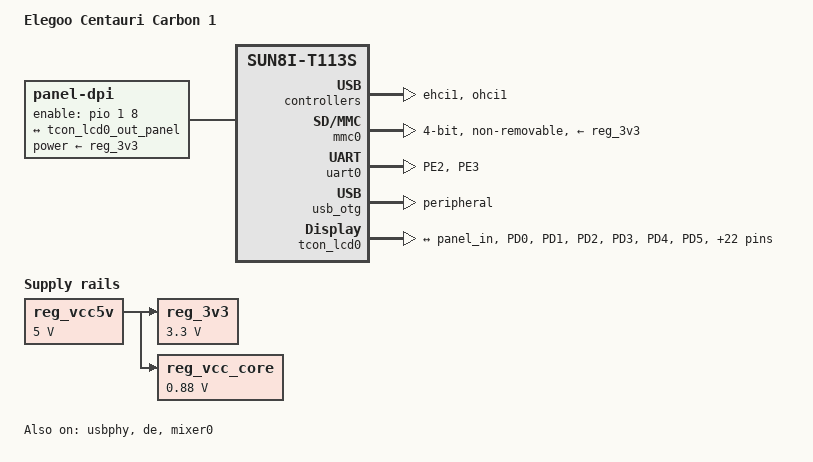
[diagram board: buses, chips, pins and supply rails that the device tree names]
// SPDX-License-Identifier: (GPL-2.0+ OR MIT)
// Copyright (C) 2026 James Turton.

/dts-v1/;

#include <dt-bindings/gpio/gpio.h>
#include "sun8i-t113s.dtsi"

/ {
	model = "Elegoo Centauri Carbon 1";
	compatible = "widora,mangopi-mq-r-t113", "allwinner,sun8i-t113s";

	aliases {
		serial0 = &uart0;
	};

	chosen {
		stdout-path = "serial0:115200n8";
	};

	/* board wide 5V supply directly from the USB-C socket */
	reg_vcc5v: regulator-5v {
		compatible = "regulator-fixed";
		regulator-name = "vcc-5v";
		regulator-min-microvolt = <5000000>;
		regulator-max-microvolt = <5000000>;
		regulator-always-on;
	};

	/* SY8008 DC/DC regulator on the board */
	reg_3v3: regulator-3v3 {
		compatible = "regulator-fixed";
		regulator-name = "vcc-3v3";
		regulator-min-microvolt = <3300000>;
		regulator-max-microvolt = <3300000>;
		vin-supply = <&reg_vcc5v>;
	};

	/* SY8008 DC/DC regulator on the board, also supplying VDD-SYS */
	reg_vcc_core: regulator-core {
		compatible = "regulator-fixed";
		regulator-name = "vcc-core";
		regulator-min-microvolt = <880000>;
		regulator-max-microvolt = <880000>;
		vin-supply = <&reg_vcc5v>;
	};

	// backlight: backlight {
	// 	compatible = "pwm-backlight";
	// 	pwms = <&pwm 7 20000 0>;
	// 	brightness-levels = <0 4 8 16 32 64 128 255>;
	// 	default-brightness-level = <7>;
	// 	enable-gpios = <&pio 1 8 GPIO_ACTIVE_HIGH>; /* PB8 */
	// };

	panel {
		compatible = "panel-dpi";
		// backlight = <&backlight>;
		enable-gpios = <&pio 1 8 GPIO_ACTIVE_HIGH>; /* PB8 */
		power-supply = <&reg_3v3>;

		port {
			panel_in: endpoint {
				remote-endpoint = <&tcon_lcd0_out_panel>;
			};
		};

		panel-timing {
			clock-frequency = <9000000>;
			hactive = <480>;
			vactive = <272>;
			hback-porch = <43>;
			hfront-porch = <4>;
			hsync-len = <4>;
			vback-porch = <12>;
			vfront-porch = <4>;
			vsync-len = <4>;
		};
	};
};

&cpu0 {
	cpu-supply = <&reg_vcc_core>;
};

&cpu1 {
	cpu-supply = <&reg_vcc_core>;
};

&dcxo {
	clock-frequency = <24000000>;
};

&ehci1 {
	status = "okay";
};

&mmc0 {
	pinctrl-0 = <&mmc0_pins>;
	pinctrl-names = "default";
	vmmc-supply = <&reg_3v3>;
	/delete-property/ cap-sd-highspeed;
	/delete-property/ no-mmc;
	mmc-ddr-3_3v;
	cap-mmc-highspeed;
	non-removable;
	bus-width = <4>;
	status = "okay";
};

&ohci1 {
	status = "okay";
};

&pio {
	vcc-pb-supply = <&reg_3v3>;
	vcc-pd-supply = <&reg_3v3>;
	vcc-pe-supply = <&reg_3v3>;
	vcc-pf-supply = <&reg_3v3>;
	vcc-pg-supply = <&reg_3v3>;

	uart0_pe_pins: uart0-pe-pins {
		pins = "PE2", "PE3";
		function = "uart0";
	};

	lcd_rgb24_pins: lcd-rgb24-pins {
		pins = "PD0", "PD1", "PD2", "PD3", "PD4", "PD5",
				"PD6", "PD7", "PD8", "PD9", "PD10", "PD11",
				"PD12", "PD13", "PD14", "PD15", "PD16", "PD17",
				"PD18", "PD19", "PD20", "PD21",
				"PB2", "PB3", "PB4", "PB5", "PB6", "PB7";
		function = "lcd0";
		drive-strength = <30>;
	};

	// pwm7_pd22_pin: pwm7-pd22-pin {
	// 	pins = "PD22";
	// 	function = "pwm7";
	// };
};

&uart0 {
	pinctrl-names = "default";
	pinctrl-0 = <&uart0_pe_pins>;
	status = "okay";
};

/* The USB-C socket has its CC pins pulled to GND, so is hardwired as a UFP. */
&usb_otg {
	dr_mode = "peripheral";
	status = "okay";
};

&usbphy {
	usb1_vbus-supply = <&reg_vcc5v>;
	status = "okay";
};

// &pwm {
// 	pinctrl-names = "default";
// 	pinctrl-0 = <&pwm7_pd22_pin>;
// 	status = "okay";
// };

&de {
	status = "okay";
};

&mixer0 {
	status = "okay";
};

&tcon_lcd0 {
	pinctrl-names = "default";
	pinctrl-0 = <&lcd_rgb24_pins>;
	status = "okay";

	port {
		tcon_lcd0_out_panel: endpoint {
			remote-endpoint = <&panel_in>;
		};
	};
};
